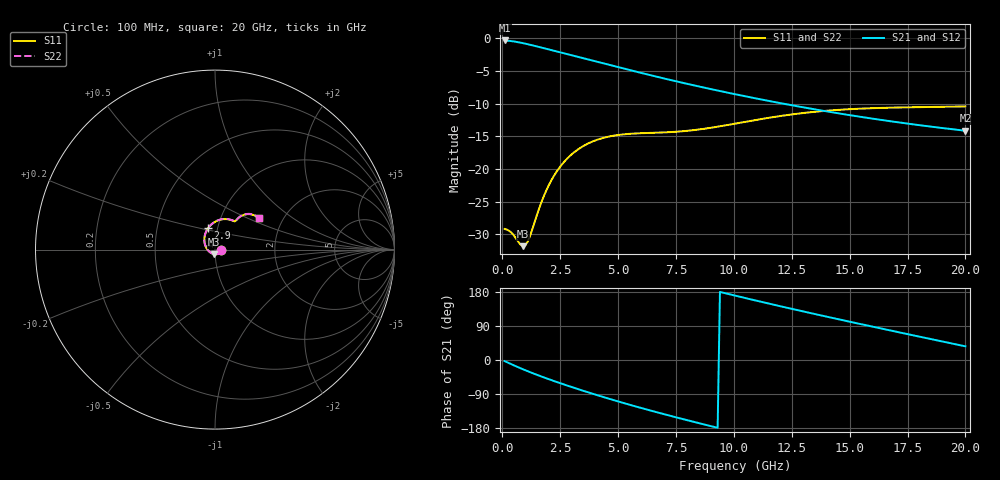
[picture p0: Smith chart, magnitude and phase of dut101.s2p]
! Touchstone file exported from HFSS 2023.1.0
!  File:  D:/Users/fzz/RDL_TSV/temp_RDL_TSV_101_1778749038.aedt
!  Generated:  5:08:22 %x4E0B%x5348  5%x6708 14, 2026
!  Design:  RDL_TSV
!  Project:  temp_RDL_TSV_101_1778749038
!  Setup:  Setup1
!  Solution:  Sweep
! Variables:
!  dtsv = 16.7um
!  hbump = 3um
!  htsv = 93.85um
!  ldown = 555.89um
!  lrdl = 652.03um
!  p = 40
!  p1 = 44.43um
!  rhole = 10um
!  subl = 4275.79um
!  t = 450um
!  tdown = 2.21um
!  trdl = 2.1um
!  viad = 10um
!  wdown = 16.27um
!  wrdl = 22.33um
!  xbump = 18um
# GHz S MA R 50.000000
! Terminal data exported
! Port[1] = TM1_1_T1
! Port[2] = TM1_4_T1
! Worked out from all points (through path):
!   200 points, 100 MHz to 20 GHz, reference 50 ohm
!   highest |S21| = -0.32 dB at 100 MHz (marker M1); lowest = -14.1 dB at 20 GHz (marker M2)
!   group delay of S21, straight-line fit = 42.9 ps
!   lowest |S11| = -31.8 dB at 900 MHz (marker M3), VSWR 1.05, Z = 49.5 - j2.51 ohm
!   |S11| at or under -10 dB: start of sweep to end of sweep
!   |S22| runs from -31.8 to -10.3 dB; largest |S21 - S12| = 1e-14
!   S11 on the Smith chart (normalised r, x): 100 MHz: 1.07, -0.01; 2.9 GHz: 0.90, +0.22; 20 GHz: 1.52, +0.58
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0.1  0.03481 -7.4  0.9642 -2.9  0.9642 -2.9  0.03481 -7.4
! Gamma 0 0 0 0
! Port Impedance 50 0 50 0
0.4  0.03256 -32.9  0.9532 -11.4  0.9532 -11.4  0.03254 -32.9
0.9  0.02572 -100.2  0.9192 -24.7  0.9192 -24.7  0.0257 -100.4
1.1  0.02792 -134.5  0.9026 -29.7  0.9026 -29.7  0.02797 -134.9
1.7  0.05639 159.7  0.85 -43.8  0.85 -43.8  0.05672 159.6
2  0.07476 142.0  0.824 -50.5  0.824 -50.5  0.07523 141.9
2.4  0.09868 124.5  0.7905 -59.1  0.7905 -59.1  0.09931 124.4
2.9  0.1252 107.9  0.7506 -69.4  0.7506 -69.4  0.126 107.9
3.5  0.1502 92.8  0.7053 -81.3  0.7053 -81.3  0.1512 92.7
4.3  0.1721 77.8  0.6488 -96.6  0.6488 -96.6  0.1733 77.8
5.1  0.1833 67.3  0.5969 -111.1  0.5969 -111.1  0.1846 67.3
5.9  0.1879 60.4  0.5498 -125.0  0.5498 -125.0  0.1892 60.4
6.8  0.1903 56.2  0.5026 -140.0  0.5026 -140.0  0.1916 56.2
7.5  0.193 54.8  0.4698 -151.2  0.4698 -151.2  0.1943 54.7
8.3  0.1989 54.2  0.4361 -163.7  0.4361 -163.7  0.2002 54.2
10.1  0.2234 53.3  0.3726 169.2  0.3726 169.2  0.2248 53.3
11.7  0.25 50.6  0.3273 146.2  0.3273 146.2  0.2516 50.6
13.4  0.2733 46.3  0.2884 122.6  0.2884 122.6  0.2752 46.4
15  0.2874 42.2  0.2587 101.1  0.2587 101.1  0.2895 42.3
16.7  0.295 38.8  0.2331 78.7  0.2331 78.7  0.2974 38.8
18.4  0.2985 36.5  0.2125 56.6  0.2125 56.6  0.3011 36.6
20  0.3017 35.5  0.1965 36.0  0.1965 36.0  0.3043 35.5
